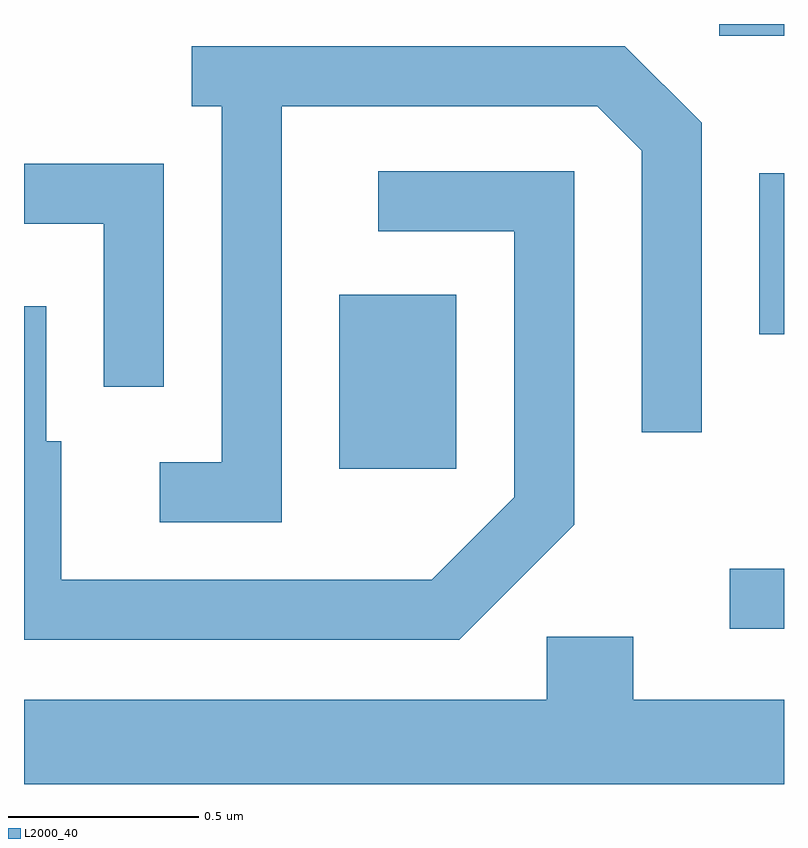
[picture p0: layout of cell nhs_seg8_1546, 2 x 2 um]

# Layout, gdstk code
import gdstk
lib = gdstk.Library(unit=1e-6, precision=1e-09)
def R(c, l, rs):  # rectangles x0, y0, x1, y1
    for r in rs: c.add(gdstk.rectangle(r[:2], r[2:], *l))
def P(c, l, *ps):  # polygons
    for p in ps: c.add(gdstk.Polygon(p, *l))
L2000_40 = (2000, 40)

nhs_seg8_1546 = lib.new_cell('nhs_seg8_1546')
R(nhs_seg8_1546, L2000_40, [(198.468,1845.751,198.611,1845.909), (197.441,1846.171,197.749,1846.629), (198.546,1846.526,198.611,1846.949), (198.441,1847.311,198.611,1847.342)])
P(nhs_seg8_1546, L2000_40, [(197.289,1847.126),(198.119,1847.126),(198.236,1847.009),(198.236,1846.268),(198.394,1846.268),(198.394,1847.082),(198.192,1847.284),(197.053,1847.284),(197.053,1847.126),(197.131,1847.126),(197.131,1846.189),(196.968,1846.189),(196.968,1846.031),(197.289,1846.031)],
  [(196.979,1846.974),(196.611,1846.974),(196.611,1846.816),(196.821,1846.816),(196.821,1846.388),(196.979,1846.388)],
  [(198.059,1846.024),(198.059,1846.954),(197.543,1846.954),(197.543,1846.796),(197.901,1846.796),(197.901,1846.097),(197.684,1845.879),(196.709,1845.879),(196.709,1846.244),(196.669,1846.244),(196.669,1846.599),(196.611,1846.599),(196.611,1845.721),(197.757,1845.721)],
  [(198.611,1845.564),(198.214,1845.564),(198.214,1845.729),(197.986,1845.729),(197.986,1845.564),(196.611,1845.564),(196.611,1845.342),(198.611,1845.342)])

lib.write_gds('nhs_seg8_1546.gds')
